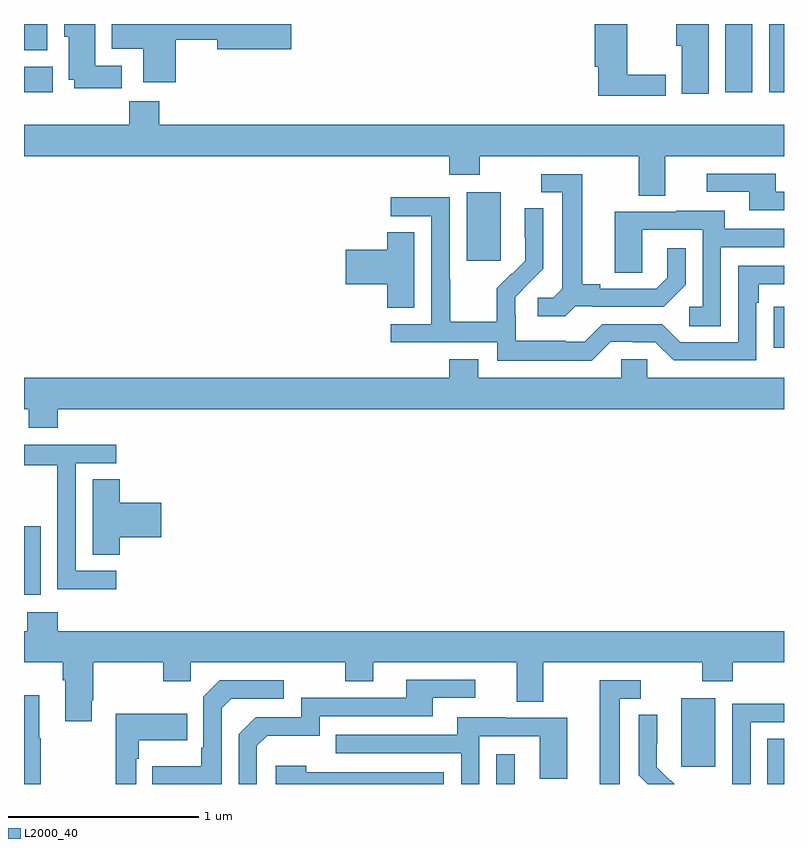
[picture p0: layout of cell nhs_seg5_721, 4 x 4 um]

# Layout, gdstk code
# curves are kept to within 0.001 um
import gdstk
lib = gdstk.Library(unit=1e-6, precision=1e-09)
def R(c, l, rs):  # rectangles x0, y0, x1, y1
    for r in rs: c.add(gdstk.rectangle(r[:2], r[2:], *l))
def P(c, l, *ps):  # polygons
    for p in ps: c.add(gdstk.Polygon(p, *l))
L2000_40 = (2000, 40)

nhs_seg5_721 = lib.new_cell('nhs_seg5_721')
R(nhs_seg5_721, L2000_40, [(159.486,842.799,159.583,842.956), (160.913,842.799,161,843.038), (160.46,842.889,160.639,843.25), (157,843.794,157.087,844.155), (160.945,845.094,161,845.312), (159.329,845.553,159.508,845.914), (157,846.44,157.15,846.574), (160.691,846.44,160.834,846.799), (160.922,846.44,161,846.799), (157,846.662,157.123,846.799)])
P(nhs_seg5_721, L2000_40, [(160.603,846.799),(160.433,846.799),(160.433,846.685),(160.463,846.685),(160.463,846.432),(160.603,846.432)],
  [(160.378,846.532),(160.174,846.532),(160.174,846.799),(160.004,846.799),(160.004,846.573),(160.022,846.573),(160.022,846.422),(160.378,846.422)],
  [(157.799,846.717),(158.018,846.717),(158.018,846.667),(158.407,846.667),(158.407,846.799),(157.463,846.799),(157.463,846.668),(157.628,846.668),(157.628,846.492),(157.799,846.492)],
  [(157.514,846.58),(157.375,846.58),(157.375,846.799),(157.211,846.799),(157.211,846.732),(157.235,846.732),(157.235,846.506),(157.265,846.506),(157.265,846.462),(157.514,846.462)],
  [(160.375,846.104),(161,846.104),(161,846.268),(157.712,846.268),(157.712,846.392),(157.555,846.392),(157.555,846.268),(157,846.268),(157,846.104),(159.239,846.104),(159.239,846.005),(159.399,846.005),(159.399,846.104),(160.235,846.104),(160.235,845.896),(160.375,845.896)],
  [(161,845.916),(160.957,845.916),(160.957,846.012),(160.593,846.012),(160.593,845.916),(160.817,845.916),(160.817,845.82),(161,845.82)],
  [(159.9,845.313),(159.994,845.313),(159.994,845.31),(160.366,845.31),(160.482,845.426),(160.482,845.62),(160.385,845.62),(160.385,845.463),(160.328,845.406),(160.033,845.406),(160.033,845.429),(159.937,845.429),(159.937,846.009),(159.723,846.009),(159.723,845.913),(159.833,845.913),(159.833,845.405),(159.786,845.358),(159.705,845.358),(159.705,845.261),(159.848,845.261)],
  [(160.089,845.127),(160.205,845.127),(160.205,845.124),(160.323,845.124),(160.419,845.028),(160.854,845.028),(160.854,845.333),(160.867,845.333),(160.867,845.43),(161,845.43),(161,845.526),(160.758,845.526),(160.758,845.124),(160.455,845.124),(160.359,845.22),(160.044,845.22),(159.951,845.127),(159.851,845.127),(159.851,845.131),(159.588,845.131),(159.588,845.265),(159.586,845.265),(159.586,845.362),(159.732,845.51),(159.732,845.828),(159.636,845.828),(159.636,845.674),(159.638,845.674),(159.638,845.552),(159.567,845.481),(159.564,845.484),(159.487,845.407),(159.487,845.233),(159.243,845.233),(159.243,845.456),(159.24,845.456),(159.24,845.886),(158.931,845.886),(158.931,845.787),(159.144,845.787),(159.144,845.22),(158.931,845.22),(158.931,845.124),(159.492,845.124),(159.492,845.027),(159.989,845.027)],
  [(160.668,845.625),(161,845.625),(161,845.721),(160.687,845.721),(160.687,845.815),(160.433,845.815),(160.433,845.811),(160.109,845.811),(160.109,845.491),(160.254,845.491),(160.254,845.715),(160.572,845.715),(160.572,845.31),(160.5,845.31),(160.5,845.209),(160.668,845.209)],
  [(159.055,845.702),(158.912,845.702),(158.912,845.612),(158.694,845.612),(158.694,845.429),(158.912,845.429),(158.912,845.305),(159.055,845.305)],
  [(157.178,844.772),(161,844.772),(161,844.936),(160.281,844.936),(160.281,845.034),(160.143,845.034),(160.143,844.936),(159.391,844.936),(159.391,845.035),(159.239,845.035),(159.239,844.936),(157,844.936),(157,844.772),(157.025,844.772),(157.025,844.673),(157.178,844.673)],
  [(157.486,843.921),(157.272,843.921),(157.272,844.488),(157.486,844.488),(157.486,844.584),(157,844.584),(157,844.476),(157.174,844.476),(157.174,844.252),(157.176,844.252),(157.176,843.823),(157.486,843.823)],
  [(157.505,844.097),(157.723,844.097),(157.723,844.28),(157.505,844.28),(157.505,844.403),(157.361,844.403),(157.361,844.006),(157.505,844.006)],
  [(157.357,843.241),(157.365,843.241),(157.365,843.44),(157.732,843.44),(157.732,843.341),(157.878,843.341),(157.878,843.44),(158.692,843.44),(158.692,843.341),(158.839,843.341),(158.839,843.44),(159.593,843.44),(159.593,843.232),(159.733,843.232),(159.733,843.44),(160.57,843.44),(160.57,843.341),(160.73,843.341),(160.73,843.44),(161,843.44),(161,843.604),(157.178,843.604),(157.178,843.703),(157.018,843.703),(157.018,843.604),(157,843.604),(157,843.44),(157.205,843.44),(157.205,843.344),(157.217,843.344),(157.217,843.129),(157.357,843.129)],
  [(158.226,843),(158.279,843.053),(158.556,843.053),(158.556,843.156),(159.151,843.156),(159.151,843.252),(159.376,843.252),(159.376,843.348),(159.011,843.348),(159.011,843.252),(158.46,843.252),(158.46,843.15),(158.22,843.15),(158.13,843.06),(158.13,842.799),(158.226,842.799)],
  [(160.135,843.249),(160.246,843.249),(160.246,843.345),(160.031,843.345),(160.031,842.799),(160.135,842.799)],
  [(158.04,843.198),(158.091,843.249),(158.368,843.249),(158.368,843.345),(158.031,843.345),(157.944,843.258),(157.944,842.989),(157.932,842.989),(157.932,842.893),(157.675,842.893),(157.675,842.799),(158.04,842.799)],
  [(157.089,843.041),(157.081,843.041),(157.081,843.265),(157,843.265),(157,842.799),(157.089,842.799)],
  [(160.824,843.123),(161,843.123),(161,843.222),(160.728,843.222),(160.728,842.799),(160.824,842.799)],
  [(157.59,842.933),(157.603,842.933),(157.603,843.029),(157.859,843.029),(157.859,843.169),(157.482,843.169),(157.482,842.799),(157.59,842.799)],
  [(160.404,842.82),(160.401,842.817),(160.331,842.888),(160.331,843.01),(160.332,843.01),(160.332,843.164),(160.236,843.164),(160.236,842.846),(160.283,842.799),(160.425,842.799)],
  [(159.396,843.051),(159.714,843.051),(159.714,842.827),(159.859,842.827),(159.859,843.147),(159.535,843.147),(159.535,843.151),(159.281,843.151),(159.281,843.057),(158.641,843.057),(158.641,842.961),(159.3,842.961),(159.3,842.799),(159.396,842.799)],
  [(159.21,842.862),(158.486,842.862),(158.486,842.896),(158.325,842.896),(158.325,842.799),(159.21,842.799)])

lib.write_gds('nhs_seg5_721.gds')
